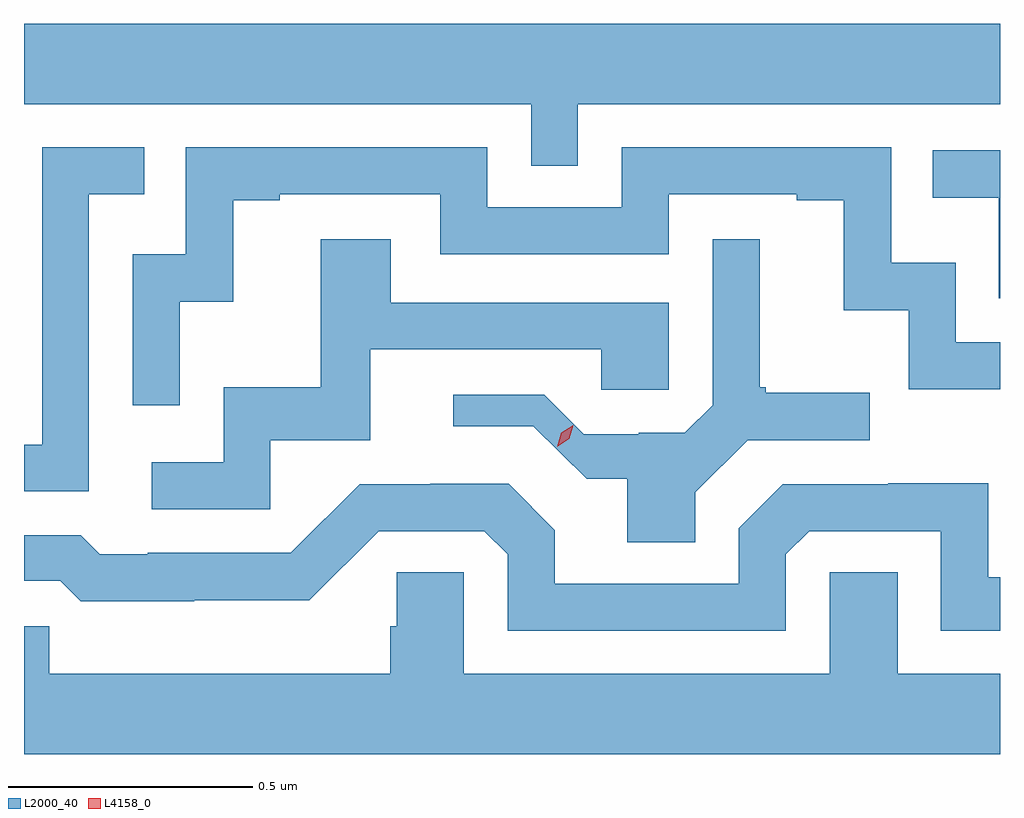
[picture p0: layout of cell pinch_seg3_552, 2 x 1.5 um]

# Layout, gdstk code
import gdstk
lib = gdstk.Library(unit=1e-6, precision=1e-09)
def P(c, l, *ps):  # polygons
    for p in ps: c.add(gdstk.Polygon(p, *l))
L2000_40 = (2000, 40)
L4158_0 = (4158, 0)

pinch_seg3_552 = lib.new_cell('pinch_seg3_552')
P(pinch_seg3_552, L2000_40, [(1130.634,699.584),(1131.499,699.584),(1131.499,699.748),(1129.499,699.748),(1129.499,699.584),(1130.538,699.584),(1130.538,699.457),(1130.634,699.457)],
  [(1129.818,699.179),(1129.928,699.179),(1129.928,699.387),(1130.023,699.387),(1130.023,699.399),(1130.352,699.399),(1130.352,699.276),(1130.82,699.276),(1130.82,699.399),(1131.083,699.399),(1131.083,699.387),(1131.179,699.387),(1131.179,699.161),(1131.312,699.161),(1131.312,699),(1131.499,699),(1131.499,699.096),(1131.408,699.096),(1131.408,699.259),(1131.276,699.259),(1131.276,699.495),(1130.724,699.495),(1130.724,699.372),(1130.448,699.372),(1130.448,699.495),(1129.83,699.495),(1129.83,699.276),(1129.722,699.276),(1129.722,698.967),(1129.818,698.967)],
  [(1129.632,699.399),(1129.745,699.399),(1129.745,699.495),(1129.536,699.495),(1129.536,698.886),(1129.499,698.886),(1129.499,698.79),(1129.632,698.79)],
  [(1131.499,699.489),(1131.361,699.489),(1131.361,699.392),(1131.496,699.392),(1131.496,699.186),(1131.499,699.186)],
  [(1130.004,698.895),(1130.209,698.895),(1130.209,699.081),(1130.682,699.081),(1130.682,698.998),(1130.82,698.998),(1130.82,699.177),(1130.251,699.177),(1130.251,699.307),(1130.107,699.307),(1130.107,699.004),(1129.908,699.004),(1129.908,698.85),(1129.761,698.85),(1129.761,698.754),(1130.004,698.754)],
  [(1130.875,698.788),(1130.982,698.895),(1131.232,698.895),(1131.232,698.992),(1131.019,698.992),(1131.019,699.004),(1131.007,699.004),(1131.007,699.307),(1130.91,699.307),(1130.91,698.967),(1130.853,698.91),(1130.759,698.91),(1130.759,698.907),(1130.646,698.907),(1130.565,698.988),(1130.379,698.988),(1130.379,698.924),(1130.543,698.924),(1130.652,698.816),(1130.735,698.816),(1130.735,698.686),(1130.875,698.686)],
  [(1131.06,698.661),(1131.108,698.709),(1131.378,698.709),(1131.378,698.505),(1131.499,698.505),(1131.499,698.614),(1131.475,698.614),(1131.475,698.807),(1131.27,698.807),(1131.27,698.805),(1131.054,698.805),(1130.964,698.715),(1130.964,698.601),(1130.587,698.601),(1130.587,698.711),(1130.492,698.806),(1130.331,698.806),(1130.331,698.805),(1130.187,698.805),(1130.046,698.664),(1129.753,698.664),(1129.753,698.661),(1129.654,698.661),(1129.615,698.7),(1129.499,698.7),(1129.499,698.607),(1129.573,698.607),(1129.615,698.565),(1129.848,698.565),(1129.848,698.567),(1130.084,698.567),(1130.226,698.709),(1130.442,698.709),(1130.49,698.661),(1130.49,698.505),(1131.06,698.505)],
  [(1131.499,698.416),(1131.289,698.416),(1131.289,698.624),(1131.15,698.624),(1131.15,698.416),(1130.4,698.416),(1130.4,698.624),(1130.263,698.624),(1130.263,698.514),(1130.249,698.514),(1130.249,698.416),(1129.551,698.416),(1129.551,698.514),(1129.499,698.514),(1129.499,698.252),(1131.499,698.252)])
P(pinch_seg3_552, L4158_0, [(1130.592,698.882),(1130.592,698.882),(1130.6,698.91),(1130.624,698.926),(1130.624,698.926),(1130.624,698.926),(1130.616,698.898),(1130.592,698.882)])

lib.write_gds('pinch_seg3_552.gds')
